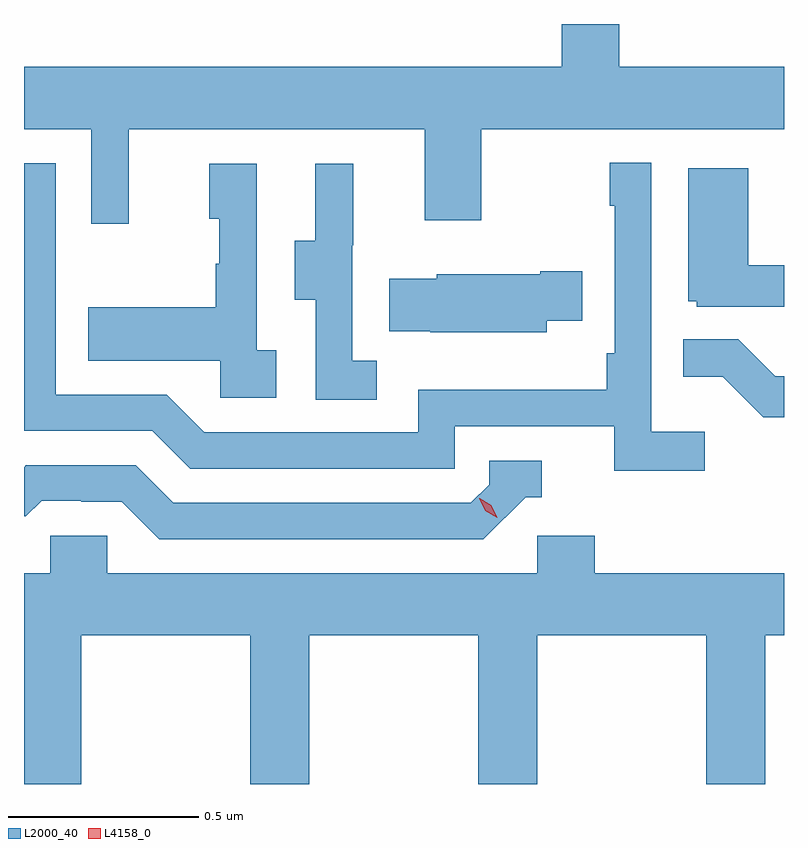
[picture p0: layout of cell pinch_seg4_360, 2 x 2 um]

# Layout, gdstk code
import gdstk
lib = gdstk.Library(unit=1e-6, precision=1e-09)
def P(c, l, *ps):  # polygons
    for p in ps: c.add(gdstk.Polygon(p, *l))
L2000_40 = (2000, 40)
L4158_0 = (4158, 0)

pinch_seg4_360 = lib.new_cell('pinch_seg4_360')
P(pinch_seg4_360, L2000_40, [(985.271,806.144),(986.051,806.144),(986.051,805.905),(986.199,805.905),(986.199,806.144),(986.996,806.144),(986.996,806.308),(986.563,806.308),(986.563,806.421),(986.423,806.421),(986.423,806.42),(986.411,806.42),(986.411,806.308),(984.996,806.308),(984.996,806.144),(985.173,806.144),(985.173,805.896),(985.271,805.896)],
  [(986.788,805.348),(986.646,805.348),(986.646,806.056),(986.538,806.056),(986.538,805.943),(986.55,805.943),(986.55,805.555),(986.53,805.555),(986.53,805.459),(986.034,805.459),(986.034,805.347),(985.47,805.347),(985.371,805.446),(985.08,805.446),(985.08,806.055),(984.996,806.055),(984.996,805.35),(985.334,805.35),(985.433,805.251),(986.13,805.251),(986.13,805.362),(986.549,805.362),(986.549,805.246),(986.788,805.246)],
  [(985.924,805.535),(985.86,805.535),(985.86,805.839),(985.862,805.839),(985.862,806.053),(985.763,806.053),(985.763,805.851),(985.709,805.851),(985.709,805.696),(985.764,805.696),(985.764,805.432),(985.924,805.432)],
  [(985.66,805.562),(985.608,805.562),(985.608,806.053),(985.484,806.053),(985.484,805.908),(985.51,805.908),(985.51,805.79),(985.5,805.79),(985.5,805.675),(985.165,805.675),(985.165,805.535),(985.512,805.535),(985.512,805.437),(985.66,805.437)],
  [(986.996,805.786),(986.902,805.786),(986.902,806.041),(986.744,806.041),(986.744,805.692),(986.766,805.692),(986.766,805.677),(986.996,805.677)],
  [(986.371,805.64),(986.465,805.64),(986.465,805.77),(986.354,805.77),(986.354,805.762),(986.082,805.762),(986.082,805.75),(985.957,805.75),(985.957,805.613),(986.065,805.613),(986.065,805.61),(986.371,805.61)],
  [(986.996,805.494),(986.973,805.494),(986.875,805.592),(986.731,805.592),(986.731,805.493),(986.835,805.493),(986.942,805.386),(986.996,805.386)],
  [(986.316,805.176),(986.359,805.176),(986.359,805.272),(986.22,805.272),(986.22,805.209),(986.172,805.161),(985.389,805.161),(985.29,805.26),(985.001,805.26),(984.996,805.255),(984.996,805.125),(985.001,805.125),(985.043,805.167),(985.146,805.167),(985.146,805.164),(985.253,805.164),(985.352,805.065),(986.205,805.065)],
  [(985.146,804.812),(985.591,804.812),(985.591,804.421),(985.746,804.421),(985.746,804.812),(986.191,804.812),(986.191,804.421),(986.346,804.421),(986.346,804.812),(986.791,804.812),(986.791,804.421),(986.946,804.421),(986.946,804.812),(986.996,804.812),(986.996,804.976),(986.498,804.976),(986.498,805.074),(986.346,805.074),(986.346,804.976),(985.215,804.976),(985.215,805.074),(985.065,805.074),(985.065,804.976),(984.996,804.976),(984.996,804.421),(985.146,804.421)])
P(pinch_seg4_360, L4158_0, [(986.241,805.122),(986.21,805.14),(986.194,805.173),(986.194,805.173),(986.195,805.173),(986.225,805.154),(986.242,805.122),(986.242,805.122)])

lib.write_gds('pinch_seg4_360.gds')
